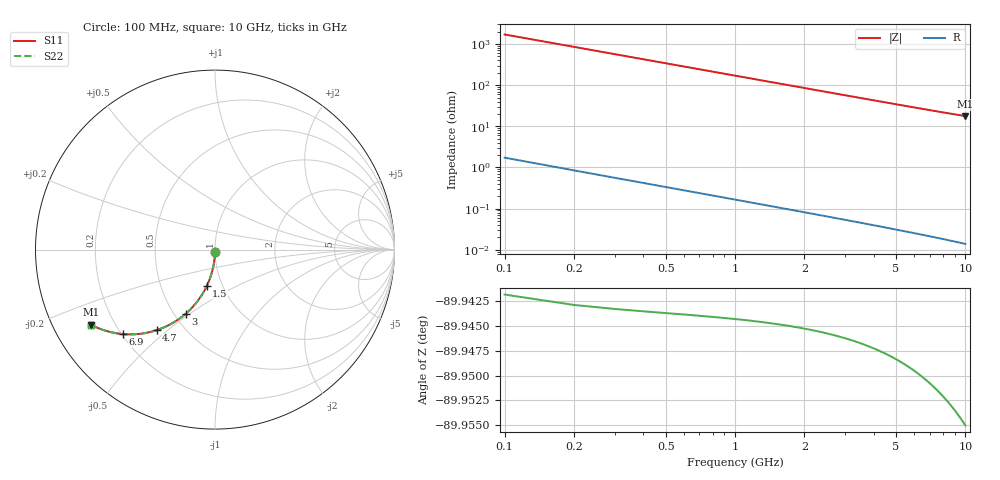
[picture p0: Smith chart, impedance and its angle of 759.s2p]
# Hz S RI R 50.00
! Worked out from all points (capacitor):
!   100 points, 100 MHz to 10 GHz, reference 50 ohm
!   read as one part in shunt: C = 935 fF near 100 MHz
!   lowest |Z| = 17.7 ohm at 10 GHz (marker M1)
!   S11 on the Smith chart (normalised r, x): 100 MHz: 1.00, -0.03; 1.5 GHz: 0.84, -0.36; 3 GHz: 0.57, -0.48; 4.7 GHz: 0.35, -0.46; 6.9 GHz: 0.21, -0.38; 10 GHz: 0.11, -0.28
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1e8  -9.57e-05 -0.0143  0.9996 -0.0151  0.9996 -0.0151  -9.57e-05 -0.0143
2e8  -0.000755 -0.0285  0.999 -0.0301  0.999 -0.0301  -0.000755 -0.0285
3e8  -0.00184 -0.0427  0.9979 -0.0452  0.9979 -0.0452  -0.00184 -0.0427
4e8  -0.00336 -0.0569  0.9964 -0.0601  0.9964 -0.0601  -0.00336 -0.0569
5e8  -0.00529 -0.071  0.9944 -0.075  0.9944 -0.075  -0.00529 -0.071
6e8  -0.00764 -0.085  0.9921 -0.0898  0.9921 -0.0898  -0.00764 -0.085
7e8  -0.0104 -0.0988  0.9893 -0.1045  0.9893 -0.1045  -0.0104 -0.0988
9e8  -0.0171 -0.1262  0.9826 -0.1335  0.9826 -0.1335  -0.0171 -0.1262
1.2e9  -0.0301 -0.166  0.9695 -0.1758  0.9695 -0.1758  -0.0301 -0.166
1.5e9  -0.0463 -0.204  0.9533 -0.2162  0.9533 -0.2162  -0.0463 -0.204
1.8e9  -0.0654 -0.2398  0.9342 -0.2545  0.9342 -0.2545  -0.0654 -0.2398
2.4e9  -0.1108 -0.3039  0.8887 -0.3235  0.8887 -0.3235  -0.1108 -0.3039
3e9  -0.1632 -0.3571  0.8362 -0.3816  0.8362 -0.3816  -0.1632 -0.3571
3.4e9  -0.2005 -0.3862  0.7988 -0.414  0.7988 -0.414  -0.2005 -0.3862
4e9  -0.258 -0.4209  0.7411 -0.4537  0.7411 -0.4537  -0.258 -0.4209
4.7e9  -0.325 -0.4487  0.674 -0.4873  0.674 -0.4873  -0.325 -0.4487
5.1e9  -0.3622 -0.4593  0.6367 -0.5012  0.6367 -0.5012  -0.3622 -0.4593
5.9e9  -0.4327 -0.4707  0.5658 -0.5194  0.5658 -0.5194  -0.4327 -0.4707
6.7e9  -0.4968 -0.4717  0.5013 -0.5272  0.5013 -0.5272  -0.4968 -0.4717
6.9e9  -0.5118 -0.4707  0.4862 -0.5279  0.4862 -0.5279  -0.5118 -0.4707
8.4e9  -0.6105 -0.4517  0.3867 -0.5218  0.3867 -0.5218  -0.6105 -0.4517
1e10  -0.6917 -0.4183  0.3044 -0.5025  0.3044 -0.5025  -0.6917 -0.4183
